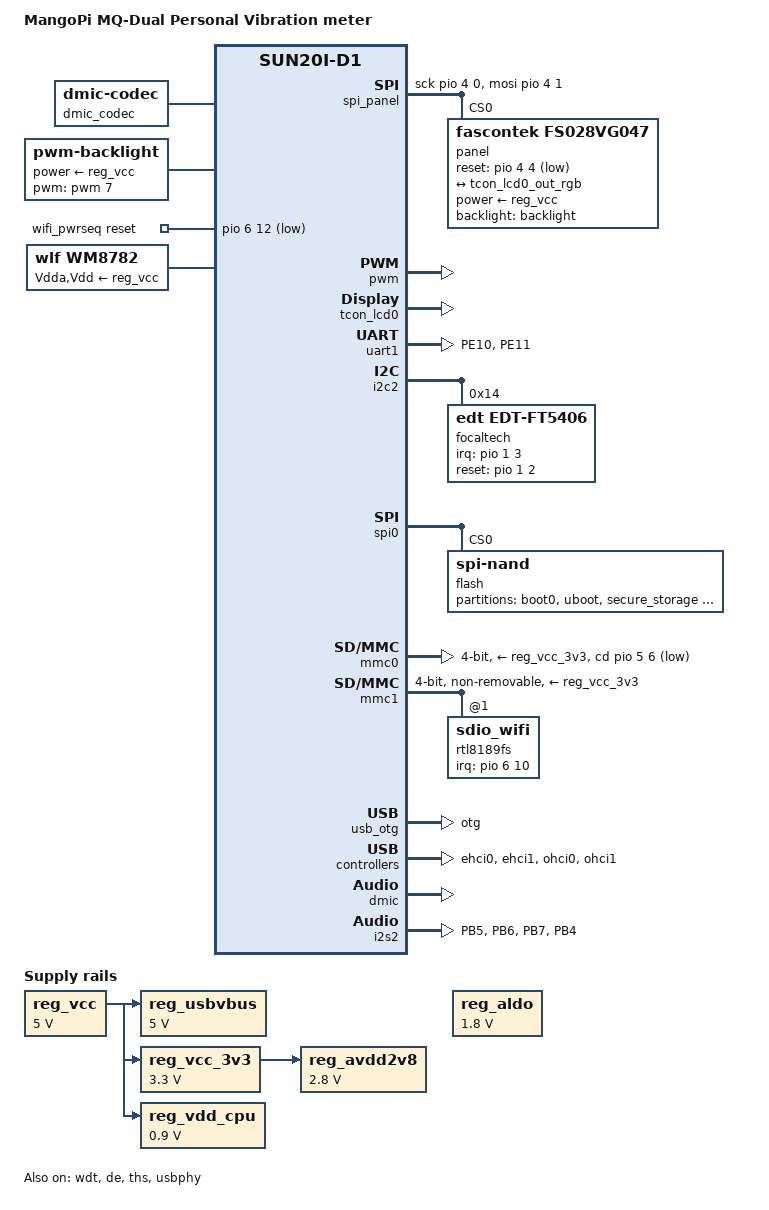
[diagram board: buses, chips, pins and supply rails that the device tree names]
// SPDX-License-Identifier: (GPL-2.0+ or MIT)
// Copyright (C) 2022 Samuel Holland <samuel@sholland.org>

/dts-v1/;

#include <dt-bindings/gpio/gpio.h>
#include <dt-bindings/leds/common.h>
#include "sun8i-t113.dtsi"

/ {
	model = "MangoPi MQ-Dual Personal Vibration meter";
	compatible = "allwinner,sun20i-d1", "allwinner,sun8i";

	aliases {
		ethernet0 = &rtl8189fs;
		mmc0 = &mmc0;
//		serial1 = &uart1;
//		serial5 = &uart5;
	};

	chosen {
		stdout-path = "serial0:115200n8";
		bootargs = "mem=128M cma=72M root=/dev/mmcblk0p2 init=/sbin/init rootwait console=tty0 console=ttyS0,115200 earlyprintk=sunxi-uart,2500400";
	};

	reg_vcc: vcc {
		compatible = "regulator-fixed";
		regulator-name = "vcc";
		regulator-min-microvolt = <5000000>;
		regulator-max-microvolt = <5000000>;
	};

	reg_usbvbus: usbvbus {
		compatible = "regulator-fixed";
		regulator-name = "usbvbus";
		regulator-min-microvolt = <5000000>;
		regulator-max-microvolt = <5000000>;
		vin-supply = <&reg_vcc>;
	};

	reg_vcc_3v3: vcc-3v3 {
		compatible = "regulator-fixed";
		regulator-name = "vcc-3v3";
		regulator-min-microvolt = <3300000>;
		regulator-max-microvolt = <3300000>;
		vin-supply = <&reg_vcc>;
	};

	reg_avdd2v8: avdd2v8 {
		compatible = "regulator-fixed";
		regulator-name = "avdd2v8";
		regulator-min-microvolt = <2800000>;
		regulator-max-microvolt = <2800000>;
		vin-supply = <&reg_vcc_3v3>;
	};

	reg_vdd_cpu: vdd-cpu {
		compatible = "regulator-fixed";
		regulator-name = "vdd-cpu";
		regulator-min-microvolt = <900000>;
		regulator-max-microvolt = <900000>;
		vin-supply = <&reg_vcc>;
	};

	spi_panel: spi {
		compatible = "spi-gpio";
		#address-cells = <0x1>;
		#size-cells = <0x0>;

		sck-gpios = <&pio 4 0 GPIO_ACTIVE_HIGH>; /* PE0 */
		mosi-gpios = <&pio 4 1 GPIO_ACTIVE_HIGH>; /* PE1 */
		num-chipselects = <0>;
	};

	dmic_codec: dmic-codec {
		compatible = "dmic-codec";
		num-channels = <2>;
		#sound-dai-cells = <0>;
	};

	dmic-sound {
		compatible = "simple-audio-card";
		#address-cells = <1>;
		#size-cells = <0>;

		simple-audio-card,dai-link@0 {
			format = "pdm";
			frame-master = <&link0_cpu>;
			bitclock-master = <&link0_cpu>;

			link0_cpu: cpu {
				sound-dai = <&dmic>;
			};

			link0_codec: codec {
				sound-dai = <&dmic_codec>;
			};
		};
	};

	/*
	leds {
		compatible = "gpio-leds";
		status_led {
			linux,default-trigger = "heartbeat";
			label = "blue:status";
			gpios = <&pio 3 22 GPIO_ACTIVE_HIGH>;
		};
	};
	*/

	backlight: backlight {
		compatible = "pwm-backlight";
		pwms = <&pwm 7 5000000>;
		power-supply = <&reg_vcc>;
		pinctrl-0 = <&pwm7_pd22_pin>;
		pinctrl-names = "default";
		brightness-levels = <0 4 8 16 32 64 128 254>;
		default-brightness-level = <6>;
		post-pwm-on-delay-ms = <10>;
		pwm-off-delay-ms = <10>;
	};

	wifi_pwrseq: wifi-pwrseq {
		compatible = "mmc-pwrseq-simple";
		clocks = <&ccu CLK_FANOUT1>;
		clock-names = "ext_clock";
		reset-gpios = <&pio 6 12 GPIO_ACTIVE_LOW>; /* PG12 */
		assigned-clocks = <&ccu CLK_FANOUT1>;
		assigned-clock-rates = <32768>;
		pinctrl-0 = <&clk_pg11_pin>;
		pinctrl-names = "default";
	};

	wm8782: stereo-adc {
		compatible = "wlf,wm8782";
		Vdda-supply = <&reg_vcc>;
		Vdd-supply = <&reg_vcc>;
		#sound-dai-cells = <0>;
	};

	sound {
		compatible = "simple-audio-card";
		simple-audio-card,name = "Testcard In";
		simple-audio-card,format = "i2s";
		simple-audio-card,bitclock-master = <&sound_cpu>;
		simple-audio-card,frame-master = <&sound_cpu>;
		simple-audio-card,mclk-fs = <128>;
		sound_cpu: simple-audio-card,cpu {
			sound-dai = <&i2s2>;
		};

		sound_wm8782: simple-audio-card,codec {
			sound-dai = <&wm8782>;
		};
	};
};

&pwm {
	#pwm-cells = <2>;
	status = "okay";
};

&reg_aldo {
	regulator-min-microvolt = <1800000>;
	regulator-max-microvolt = <1800000>;
	vdd33-supply = <&reg_vcc_3v3>;
};

&cpu0 {
	cpu-supply = <&reg_vdd_cpu>;
};

&cpu1 {
	cpu-supply = <&reg_vdd_cpu>;
};

&wdt {
	status = "okay";
};

&ve {
	status = "disabled";
};

&de {
	status = "okay";
};

&tcon_lcd0 {
	pinctrl-0 = <&lcd_rgb666_pins>;
	pinctrl-names = "default";
	status = "okay";
};

&tcon_lcd0_out {
	tcon_lcd0_out_rgb: endpoint@0 {
		reg = <0>;
		remote-endpoint = <&rgb_panel_in>;
	};
};

&spi_panel {
	status = "okay";
	panel@0 {
		compatible = "fascontek,fs028vg047";
		spi-3wire;
		reg = <0>;
		backlight = <&backlight>;
		power-supply = <&reg_vcc>;
		reset-gpios = <&pio 4 4 GPIO_ACTIVE_LOW>; /* PE4 */
		port {
			rgb_panel_in: endpoint {
			remote-endpoint = <&tcon_lcd0_out_rgb>;
			};
		};
	};
};

&pio {
	vcc-pb-supply = <&reg_vcc_3v3>;
	vcc-pc-supply = <&reg_vcc_3v3>;
	vcc-pd-supply = <&reg_vcc_3v3>;
	vcc-pe-supply = <&reg_avdd2v8>;
	vcc-pf-supply = <&reg_vcc_3v3>;
	vcc-pg-supply = <&reg_vcc_3v3>;

	uart5_pb4_pins: uart5-pb4-pins {
		pins = "PB4", "PB5";
		function = "uart5";
	};

	clk_pg11_pin: clk-pg11-pin {
		pins = "PG11";
		function = "clk";
	};

	uart1_pe10_pins: uart1-pe10-pins {
		pins = "PE10", "PE11";
		function = "uart1";
	};

	i2s2_pins: i2s-pins {
		pins = "PB5", "PB6", "PB7";
		function = "i2s2";
	};

	i2s2_din_pins: i2s-din-pins {
		pins = "PB4";
		function = "i2s2_din";
	};
};

&uart1 {
	pinctrl-0 = <&uart1_pe10_pins>;
	pinctrl-names = "default";
	status = "okay";

	/* XR829/RTL8723bs/RTL8189fs bluetooth is connected here */
};

/*
&uart5 {
	pinctrl-0 = <&uart5_pb4_pins>;
	pinctrl-names = "default";
	status = "okay";
};
*/

/*
&uart0 {
	pinctrl-0 = <&uart0_pe2_pins>;
	pinctrl-names = "default";
	status = "okay";
};
*/

&i2c2 {
	pinctrl-0 = <&i2c2_pe12_pins>;
	pinctrl-names = "default";
	status = "okay";

	focaltech: touchscreen@14 {
		compatible = "edt,edt-ft5406";
		reg = <0x14>;
		interrupt-parent = <&pio>;
		interrupts = <1 3 IRQ_TYPE_EDGE_FALLING>;  /* PB-EINT3    */
		irq-gpios = <&pio 1 3 GPIO_ACTIVE_HIGH>;   /* PB3 CTP_INT */
		reset-gpios = <&pio 1 2 GPIO_ACTIVE_HIGH>; /* PB2 CTP_RST */
	};
};

&spi0 {
	pinctrl-0 = <&spi0_pins>;
	pinctrl-names = "default";
	status = "okay";

	flash@0 {
		compatible = "spi-nand";
		reg = <0>;

		partitions {
			compatible = "fixed-partitions";
			#address-cells = <1>;
			#size-cells = <1>;

			partition@0 {
				label = "boot0";
				reg = <0x00000000 0x00100000>;
			};

			partition@100000 {
				label = "uboot";
				reg = <0x00100000 0x00300000>;
			};

			partition@400000 {
				label = "secure_storage";
				reg = <0x00400000 0x00100000>;
			};

			partition@500000 {
				label = "sys";
				reg = <0x00500000 0x0fb00000>;
			};
		};

	};
};

&mmc0 {
	bus-width = <4>;
	cd-gpios = <&pio 5 6 (GPIO_ACTIVE_LOW)>;
	disable-wp;
	vmmc-supply = <&reg_vcc_3v3>;
	vqmmc-supply = <&reg_vcc_3v3>;
	pinctrl-0 = <&mmc0_pins>;
	pinctrl-names = "default";
	status = "okay";
};

&mmc1 {
	bus-width = <4>;
	mmc-pwrseq = <&wifi_pwrseq>;
	non-removable;
	vmmc-supply = <&reg_vcc_3v3>;
	vqmmc-supply = <&reg_vcc_3v3>;
	pinctrl-0 = <&mmc1_pins>;
	pinctrl-names = "default";
	status = "okay";

	rtl8189fs: sdio_wifi@1 {
		reg = <1>;
		interrupt-parent = <&pio>;
		interrupts = <6 10 IRQ_TYPE_LEVEL_HIGH>; /* PG10 */
		interrupt-names = "host-wake";
	};
};

// &codec {
// 	routing = "Headphone Jack", "HPOUTL",
// 		  "Headphone Jack", "HPOUTR",
// 		  "Headset Microphone", "MICIN3"; 

// /*		  "LINEINL", "HPOUTL",
// 		  "LINEINR", "HPOUTR";
// */
// 	widgets = "Microphone", "Headset Microphone",
// 		  "Headphone", "Headphone Jack";
// 	status = "disabled";
// };

&usb_otg {
	dr_mode = "otg";
	status = "okay";
};

&ehci0 {
	status = "okay";
};

&dmic {
	status = "okay";
};

&ehci1 {
	status = "okay";
};


&ohci0 {
	status = "okay";
};

&ohci1 {
	status = "okay";
};


&ths {
	status = "okay";
	vref-supply = <&reg_aldo>;
};

&usbphy {
	usb0_vbus-supply = <&reg_usbvbus>;
	usb1_vbus-supply = <&reg_usbvbus>;
	status = "okay";
};

&mdio {

};

&emac {
	pinctrl-names = "default";
	phy-supply = <&reg_vcc_3v3>;
	status = "disabled";
};

&i2s2 {
    pinctrl-0 = <&i2s2_pins>, <&i2s2_din_pins>;
    pinctrl-names = "default";
    status = "okay";
};

/*
&can0 {
	pinctrl-names = "default";
	pinctrl-0 = <&can0_pins>;
	status = "okay";
};

&can1 {
	pinctrl-names = "default";
	pinctrl-0 = <&can1_pins>;
	status = "okay";
};
*/
